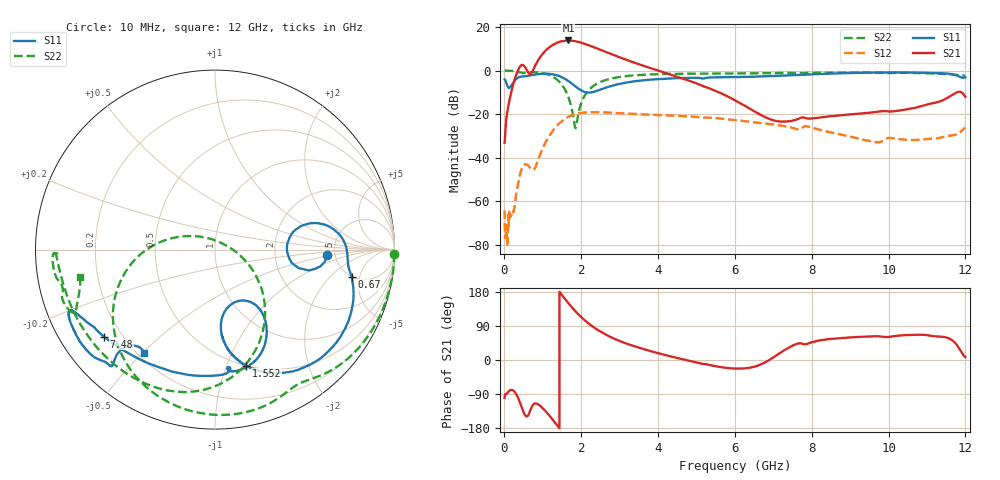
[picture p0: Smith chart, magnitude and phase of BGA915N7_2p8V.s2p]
! Infineon Technologies AG
! BGA915N7
! Silicon Germanium GPS Low Noise Amplifier in TSNP-7-6
! Vcc=2.8 V, PON=2.8 V, Icc=4.4 mA (On-Mode)
! measured on Application Board BGA915N7 V1.0
! C1=1uF, C2=0Ohm (Jumper), L1=82nH, L2=0Ohm (Jumper), C3: not used
! Measured S- and Noise Parameters
! Frequency  S11  S21  S12  S22
# Hz S  dB  R 50
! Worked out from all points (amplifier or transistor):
!   1560 points, 10 MHz to 12 GHz, reference 50 ohm
!   highest |S21| = 13.8 dB at 1.67 GHz (marker M1)
!   |S21| within 3 dB of that: 1.185 GHz to 2.317 GHz (1.132 GHz wide, 64.7 % of centre)
!   unconditionally stable (mu >= 1): start of sweep to 48.22 MHz; 53.17 MHz to end of sweep
!   at 1.521 GHz: K = 1.09, MAG = 16.4 dB, |S12| = -22.9 dB
!   at 4.21 GHz: K = 1.58, MAG = 5.2 dB, |S12| = -20.5 dB
!   at 12 GHz: K = 8.57, MAG = -5.3 dB, |S12| = -26.1 dB
!   lowest NFmin = 0.54 dB at 1.575 GHz
!   S11 on the Smith chart (normalised r, x): 10 MHz: 4.32, -0.42; 670 MHz: 4.95, -3.78; 1.552 GHz: 0.50, -1.18; 7.48 GHz: 0.13, -0.34; 12 GHz: 0.22, -0.51
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1e7  -4.05 -2.7  -33.06 -100.3  -64.08 -95.8  -0.00 -1.3
9e7  -7.28 -9.7  -17.84 -86.3  -76.15 160.9  -0.02 -11.8
3.4e8  -3.46 9.6  -0.56 -95.6  -53.46 -174.1  -0.50 -43.4
5.1e8  -2.62 -3.9  2.29 -139.4  -43.36 145.6  -1.10 -58.9
6.7e8  -2.21 -11.3  -1.52 -135.2  -44.55 124.9  -0.77 -73.5
8.8e8  -1.59 -24.0  4.71 -116.9  -41.03 172.8  -0.80 -96.6
1.02e9  -1.41 -33.8  8.13 -129.0  -34.87 174.7  -1.18 -112.2
1.15e9  -1.44 -43.8  10.35 -143.7  -30.54 166.5  -1.85 -127.0
1.4e9  -2.29 -63.8  12.98 -175.3  -24.77 142.5  -4.53 -157.3
1.552e9  -3.47 -75.0  13.69 164.9  -22.46 126.2  -7.78 -177.1
1.67e9  -4.78 -81.6  13.85 150.0  -21.18 113.6  -12.07 165.3
1.83e9  -6.90 -85.7  13.55 131.2  -20.06 97.6  -24.77 102.8
2.01e9  -9.17 -80.9  12.77 112.5  -19.39 81.8  -14.60 -21.2
2.32e9  -9.77 -60.7  10.83 86.9  -19.05 60.3  -7.02 -51.2
2.67e9  -7.66 -53.3  8.40 65.6  -19.21 42.8  -4.15 -70.0
3.26e9  -5.23 -58.2  4.47 40.5  -19.76 23.1  -2.33 -90.6
4.01e9  -3.87 -67.3  -0.00 17.9  -20.35 5.9  -1.61 -110.2
6.01e9  -2.92 -102.6  -13.64 -22.7  -22.70 -31.5  -1.28 -161.2
7.48e9  -2.10 -141.8  -22.99 36.6  -26.15 -49.6  -1.04 -178.5
8.01e9  -1.70 -150.9  -21.90 47.1  -26.17 -54.9  -0.98 -178.7
1.001e10  -0.86 -149.2  -18.69 60.8  -30.81 -42.6  -1.10 -164.4
1.2e10  -3.08 -124.5  -11.98 7.9  -26.11 -47.1  -2.32 -168.7
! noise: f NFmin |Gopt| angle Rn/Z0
1.575e+09  0.54  0.35  44  0.14
1.61e+09  0.54  0.35  45  0.13
